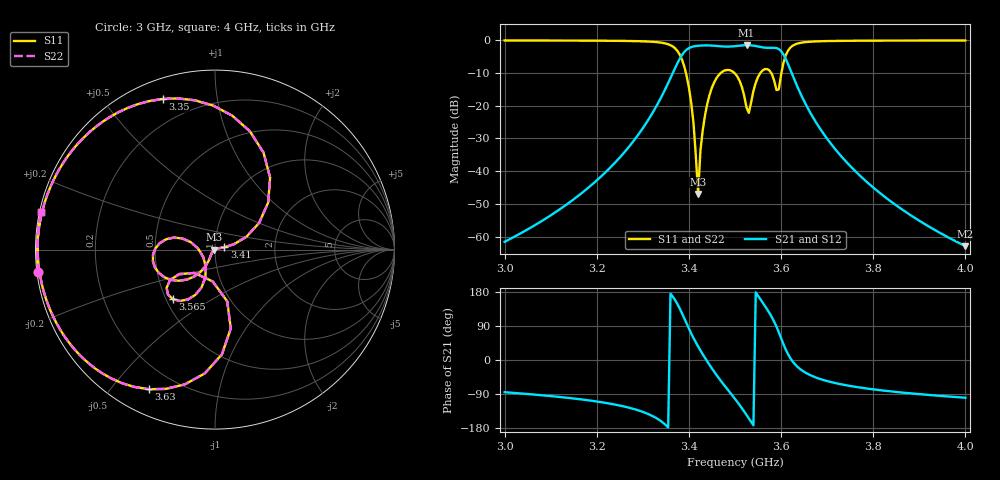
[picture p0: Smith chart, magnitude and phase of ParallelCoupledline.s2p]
! Created Monday, September 20, 2021 4:52:14 PM
# GHz S DB R 50
! 2 Port Network Data from SP1.SP block
! freq  dbS11	angS11	dbS21	angS21	dbS12	angS12	dbS22	angS22
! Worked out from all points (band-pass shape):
!   201 points, 3 GHz to 4 GHz, reference 50 ohm
!   highest |S21| = -1.51 dB at 3.525 GHz (marker M1); lowest = -62.9 dB at 4 GHz (marker M2)
!   |S21| within 3 dB of the highest: 3.385 GHz to 3.606 GHz (220.6 MHz wide, 6.31 % of centre)
!   lowest |S11| = -47.0 dB at 3.42 GHz (marker M3), VSWR 1.01, Z = 49.6 - j0.0717 ohm
!   |S11| at or under -10 dB: 3.393 GHz to 3.469 GHz (75.66 MHz wide, 2.21 % of centre); 3.499 GHz to 3.555 GHz (56.35 MHz wide, 1.6 % of centre); 3.578 GHz to 3.601 GHz (22.37 MHz wide, 0.623 % of centre)
!   |S22| runs from -47.0 to -0.1 dB; largest |S21 - S12| = 1.1e-14
!   S11 on the Smith chart (normalised r, x): 3 GHz: 0.00, -0.06; 3.35 GHz: 0.09, +0.71; 3.41 GHz: 1.11, +0.03; 3.565 GHz: 0.54, -0.35; 3.63 GHz: 0.10, -0.63; 4 GHz: 0.00, +0.11
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3  -0.07 -172.6  -61.59 -84.9  -61.59 -84.9  -0.07 -172.6
3.17  -0.12 169.3  -46.41 -104.5  -46.41 -104.5  -0.12 169.3
3.275  -0.24 148.6  -31.65 -127.4  -31.65 -127.4  -0.24 148.6
3.335  -0.65 121.8  -18.72 -157.6  -18.72 -157.6  -0.65 121.8
3.35  -1.02 109.2  -14.55 -171.9  -14.55 -171.9  -1.02 109.2
3.385  -5.93 52.6  -4.52 123.2  -4.52 123.2  -5.93 52.6
3.41  -25.45 14.2  -1.90 57.7  -1.90 57.7  -25.45 14.2
3.42  -46.97 -170.7  -1.69 35.4  -1.69 35.4  -46.97 -170.7
3.425  -33.65 -138.7  -1.63 25.0  -1.63 25.0  -33.65 -138.7
3.43  -27.49 -124.9  -1.59 15.0  -1.59 15.0  -27.49 -124.9
3.445  -16.60 -123.0  -1.60 -13.5  -1.60 -13.5  -16.60 -123.0
3.47  -9.88 -151.2  -1.88 -56.2  -1.88 -56.2  -9.88 -151.2
3.5  -10.17 173.4  -1.82 -102.6  -1.82 -102.6  -10.17 173.4
3.525  -20.53 176.6  -1.51 -144.9  -1.51 -144.9  -20.53 176.6
3.545  -13.00 -109.6  -1.77 178.5  -1.77 178.5  -13.00 -109.6
3.565  -8.81 -130.2  -2.27 142.5  -2.27 142.5  -8.81 -130.2
3.595  -15.00 -94.1  -2.69 73.4  -2.69 73.4  -15.00 -94.1
3.605  -6.97 -78.7  -4.31 42.3  -4.31 42.3  -6.97 -78.7
3.63  -1.30 -115.4  -12.44 -11.2  -12.44 -11.2  -1.30 -115.4
3.67  -0.39 -142.3  -23.76 -43.5  -23.76 -43.5  -0.39 -142.3
3.835  -0.11 -176.4  -48.92 -82.5  -48.92 -82.5  -0.11 -176.4
4  -0.08 167.7  -62.92 -99.6  -62.92 -99.6  -0.08 167.7
